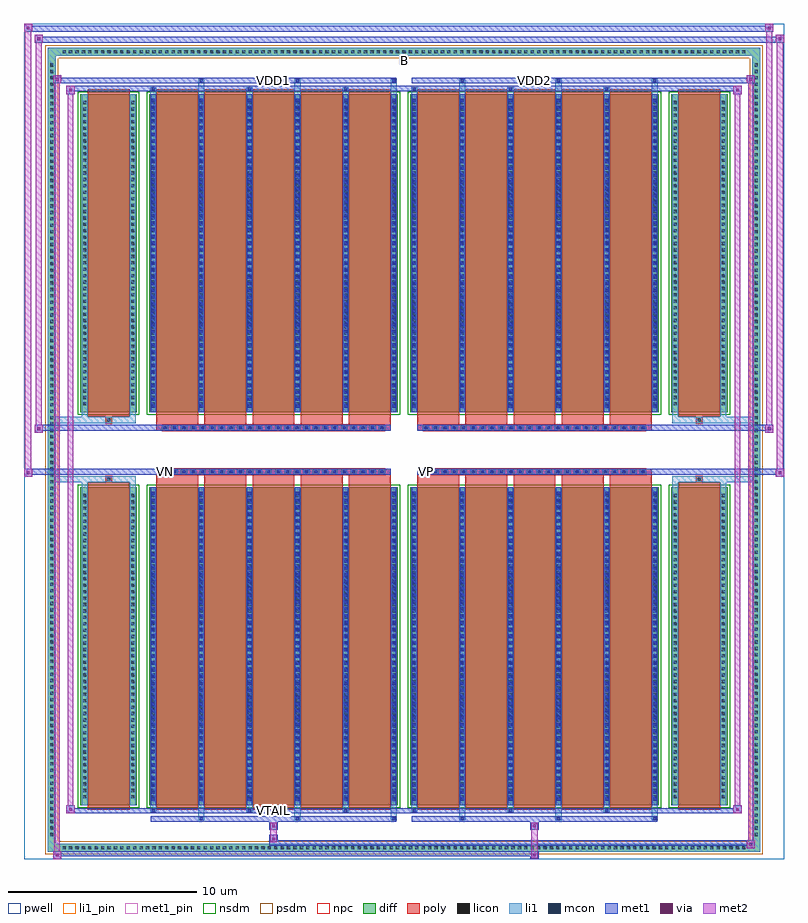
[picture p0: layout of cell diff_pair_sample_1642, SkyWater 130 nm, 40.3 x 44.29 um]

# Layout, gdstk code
import gdstk
lib = gdstk.Library(unit=1e-6, precision=5e-09)
def R(c, l, rs):  # rectangles x0, y0, x1, y1
    for r in rs: c.add(gdstk.rectangle(r[:2], r[2:], *l))
def A(c, l, x, y, w, h, nx, ny, dx, dy):  # array of equal rectangles
    R(c, l, [(x+i*dx, y+j*dy, x+i*dx+w, y+j*dy+h) for i in range(nx) for j in range(ny)])
def P(c, l, *ps):  # polygons
    for p in ps: c.add(gdstk.Polygon(p, *l))
pwell = (64, 44)
diff = (65, 20)
poly = (66, 20)
licon = (66, 44)
li1_pin = (67, 16)
li1 = (67, 20)
mcon = (67, 44)
met1_pin = (68, 16)
met1 = (68, 20)
via = (68, 44)
met2 = (69, 20)
nsdm = (93, 44)
psdm = (94, 20)
npc = (95, 20)

diff_pair_sample_1642 = lib.new_cell('diff_pair_sample_1642')
R(diff_pair_sample_1642, pwell, [(-20.15,-21.71,20.15,22.58), (-17.47,-19.9,-0.01,-0.8), (0.01,-19.9,17.47,-0.8), (-17.47,0.8,-0.01,19.9), (0.01,0.8,17.47,19.9)])
A(diff_pair_sample_1642, diff, -18.225, -21.31, 0.41, 0.41, 107, 2, 0.34, 42.21)
A(diff_pair_sample_1642, diff, -18.88, -20.605, 0.41, 0.41, 1, 121, 0, 0.34)
A(diff_pair_sample_1642, diff, 18.47, -20.605, 0.41, 0.41, 1, 121, 0, 0.34)
R(diff_pair_sample_1642, diff, [(-18.225,-21.31,18.225,-20.9), (-18.88,-20.605,-18.47,20.605), (18.47,-20.605,18.88,20.605), (-17.16,-18.855,-14.16,-1.985), (-13.52,-18.855,-0.32,-1.985), (0.32,-18.855,13.52,-1.985), (14.16,-18.855,17.16,-1.985), (-17.16,1.985,-14.16,18.855), (-13.52,1.985,-0.32,18.855), (0.32,1.985,13.52,18.855), (14.16,1.985,17.16,18.855), (-18.225,20.9,18.225,21.31)])
P(diff_pair_sample_1642, diff, [(18.88,21.31),(-18.88,21.31),(-18.88,-20.9),(-18.47,-20.9),(-18.47,20.9),(18.47,20.9),(18.47,-20.9),(-18.47,-20.9),(-18.88,-20.9),(-18.88,-21.31),(18.88,-21.31)])
A(diff_pair_sample_1642, poly, -13.13, -19.105, 2.22, 17.37, 5, 2, 2.55, 20.84)
A(diff_pair_sample_1642, poly, 0.71, -19.105, 2.22, 17.37, 5, 2, 2.55, 20.84)
A(diff_pair_sample_1642, poly, -13.13, -1.735, 2.22, 0.405, 5, 2, 2.55, 3.065)
A(diff_pair_sample_1642, poly, 0.71, -1.735, 2.22, 0.405, 5, 2, 2.55, 3.065)
A(diff_pair_sample_1642, poly, -12.835, -1.33, 0.33, 0.33, 24, 2, 0.5, 2.33)
A(diff_pair_sample_1642, poly, 1.005, -1.33, 0.33, 0.33, 24, 2, 0.5, 2.33)
R(diff_pair_sample_1642, poly, [(-16.77,-19.105,-14.55,-1.735), (14.55,-19.105,16.77,-1.735), (-15.825,-1.735,-15.495,-1.405), (-15.825,-1.735,-15.495,-1.405), (15.495,-1.735,15.825,-1.405), (15.495,-1.735,15.825,-1.405), (-13.13,-1.33,-0.71,-1), (0.71,-1.33,13.13,-1), (-13.13,1,-0.71,1.33), (0.71,1,13.13,1.33), (-15.825,1.405,-15.495,1.735), (-15.825,1.405,-15.495,1.735), (15.495,1.405,15.825,1.735), (15.495,1.405,15.825,1.735), (-16.77,1.735,-14.55,19.105), (14.55,1.735,16.77,19.105)])
A(diff_pair_sample_1642, licon, -18.105, -21.19, 0.17, 0.17, 107, 2, 0.34, 42.21)
A(diff_pair_sample_1642, licon, -18.76, -20.485, 0.17, 0.17, 1, 121, 0, 0.34)
A(diff_pair_sample_1642, licon, 18.59, -20.485, 0.17, 0.17, 1, 121, 0, 0.34)
A(diff_pair_sample_1642, licon, -17.02, -18.495, 0.17, 0.17, 1, 48, 0, 0.34)
A(diff_pair_sample_1642, licon, -14.47, -18.495, 0.17, 0.17, 1, 48, 0, 0.34)
A(diff_pair_sample_1642, licon, -13.38, -18.495, 0.17, 0.17, 6, 48, 2.55, 0.34)
A(diff_pair_sample_1642, licon, 0.46, -18.495, 0.17, 0.17, 6, 48, 2.55, 0.34)
A(diff_pair_sample_1642, licon, 14.3, -18.495, 0.17, 0.17, 1, 48, 0, 0.34)
A(diff_pair_sample_1642, licon, 16.85, -18.495, 0.17, 0.17, 1, 48, 0, 0.34)
A(diff_pair_sample_1642, licon, -12.755, -1.25, 0.17, 0.17, 24, 2, 0.5, 2.33)
A(diff_pair_sample_1642, licon, 1.085, -1.25, 0.17, 0.17, 24, 2, 0.5, 2.33)
A(diff_pair_sample_1642, licon, -17.02, 2.345, 0.17, 0.17, 1, 48, 0, 0.34)
A(diff_pair_sample_1642, licon, -14.47, 2.345, 0.17, 0.17, 1, 48, 0, 0.34)
A(diff_pair_sample_1642, licon, -13.38, 2.345, 0.17, 0.17, 6, 48, 2.55, 0.34)
A(diff_pair_sample_1642, licon, 0.46, 2.345, 0.17, 0.17, 6, 48, 2.55, 0.34)
A(diff_pair_sample_1642, licon, 14.3, 2.345, 0.17, 0.17, 1, 48, 0, 0.34)
A(diff_pair_sample_1642, licon, 16.85, 2.345, 0.17, 0.17, 1, 48, 0, 0.34)
R(diff_pair_sample_1642, licon, [(-15.745,-1.655,-15.575,-1.485), (15.575,-1.655,15.745,-1.485), (-15.745,1.485,-15.575,1.655), (15.575,1.485,15.745,1.655)])
R(diff_pair_sample_1642, li1_pin, [(-0.25,20.4,0.25,20.9)])
A(diff_pair_sample_1642, li1, -18.185, -21.27, 0.33, 0.33, 107, 2, 0.34, 42.21)
A(diff_pair_sample_1642, li1, -18.84, -20.565, 0.33, 0.33, 1, 121, 0, 0.34)
A(diff_pair_sample_1642, li1, 18.51, -20.565, 0.33, 0.33, 1, 121, 0, 0.34)
A(diff_pair_sample_1642, li1, -10.91, -19.66, 0.33, 0.805, 3, 2, 5.1, 38.515)
A(diff_pair_sample_1642, li1, -10.83, -19.66, 0.17, 0.17, 3, 2, 5.1, 39.15)
A(diff_pair_sample_1642, li1, 2.93, -19.66, 0.33, 0.805, 3, 2, 5.1, 38.515)
A(diff_pair_sample_1642, li1, 3.01, -19.66, 0.17, 0.17, 3, 2, 5.1, 39.15)
A(diff_pair_sample_1642, li1, -13.46, -19.23, 0.33, 0.375, 3, 2, 5.1, 38.085)
A(diff_pair_sample_1642, li1, -13.38, -19.23, 0.17, 0.17, 3, 2, 5.1, 38.29)
A(diff_pair_sample_1642, li1, 0.38, -19.23, 0.33, 0.375, 3, 2, 5.1, 38.085)
A(diff_pair_sample_1642, li1, 0.46, -19.23, 0.17, 0.17, 3, 2, 5.1, 38.29)
A(diff_pair_sample_1642, li1, -13.46, -18.855, 0.33, 16.87, 6, 2, 2.55, 20.84)
A(diff_pair_sample_1642, li1, 0.38, -18.855, 0.33, 16.87, 6, 2, 2.55, 20.84)
A(diff_pair_sample_1642, li1, -13.38, -18.605, 0.17, 0.17, 6, 46, 2.55, 0.36)
A(diff_pair_sample_1642, li1, -13.38, -18.605, 0.17, 16.37, 6, 2, 2.55, 20.84)
A(diff_pair_sample_1642, li1, 0.46, -18.605, 0.17, 0.17, 6, 46, 2.55, 0.36)
A(diff_pair_sample_1642, li1, 0.46, -18.605, 0.17, 16.37, 6, 2, 2.55, 20.84)
A(diff_pair_sample_1642, li1, -17.1, -18.575, 0.33, 0.33, 1, 48, 0, 0.34)
A(diff_pair_sample_1642, li1, -14.55, -18.575, 0.33, 0.33, 1, 48, 0, 0.34)
A(diff_pair_sample_1642, li1, -13.46, -18.575, 0.33, 0.33, 6, 48, 2.55, 0.34)
A(diff_pair_sample_1642, li1, 0.38, -18.575, 0.33, 0.33, 6, 48, 2.55, 0.34)
A(diff_pair_sample_1642, li1, 14.22, -18.575, 0.33, 0.33, 1, 48, 0, 0.34)
A(diff_pair_sample_1642, li1, 16.77, -18.575, 0.33, 0.33, 1, 48, 0, 0.34)
A(diff_pair_sample_1642, li1, -12.835, -1.33, 0.33, 0.33, 24, 2, 0.5, 2.33)
A(diff_pair_sample_1642, li1, 1.005, -1.33, 0.33, 0.33, 24, 2, 0.5, 2.33)
A(diff_pair_sample_1642, li1, -13.38, 2.235, 0.17, 0.17, 6, 46, 2.55, 0.36)
A(diff_pair_sample_1642, li1, 0.46, 2.235, 0.17, 0.17, 6, 46, 2.55, 0.36)
A(diff_pair_sample_1642, li1, -17.1, 2.265, 0.33, 0.33, 1, 48, 0, 0.34)
A(diff_pair_sample_1642, li1, -14.55, 2.265, 0.33, 0.33, 1, 48, 0, 0.34)
A(diff_pair_sample_1642, li1, -13.46, 2.265, 0.33, 0.33, 6, 48, 2.55, 0.34)
A(diff_pair_sample_1642, li1, 0.38, 2.265, 0.33, 0.33, 6, 48, 2.55, 0.34)
A(diff_pair_sample_1642, li1, 14.22, 2.265, 0.33, 0.33, 1, 48, 0, 0.34)
A(diff_pair_sample_1642, li1, 16.77, 2.265, 0.33, 0.33, 1, 48, 0, 0.34)
R(diff_pair_sample_1642, li1, [(-18.88,-21.31,-18.47,-20.9), (-18.88,-21.31,-18.47,-20.9), (-18.47,-21.31,18.47,-20.9), (18.47,-21.31,18.88,-20.9), (18.47,-21.31,18.88,-20.9), (-18.88,-20.9,-18.47,20.9), (18.47,-20.9,18.88,20.9), (-17.1,-18.855,-16.77,-1.985), (-14.55,-18.855,-14.22,-1.985), (14.22,-18.855,14.55,-1.985), (16.77,-18.855,17.1,-1.985), (-17.1,-1.985,-16.77,-1.405), (-14.55,-1.985,-14.22,-1.405), (14.22,-1.985,14.55,-1.405), (16.77,-1.985,17.1,-1.405), (-18.88,-1.735,-15.825,-1.405), (-17.1,-1.735,-15.825,-1.405), (-15.825,-1.735,-15.495,-1.405), (-15.495,-1.735,-14.22,-1.405), (14.22,-1.735,15.495,-1.405), (15.495,-1.735,15.825,-1.405), (15.495,-1.735,18.88,-1.405), (15.825,-1.735,17.1,-1.405), (-18.88,1.405,-15.825,1.735), (-17.1,1.405,-15.825,1.735), (-17.1,1.405,-16.77,1.985), (-15.825,1.405,-15.495,1.735), (-15.495,1.405,-14.22,1.735), (-14.55,1.405,-14.22,1.985), (14.22,1.405,15.495,1.735), (14.22,1.405,14.55,1.985), (15.495,1.405,15.825,1.735), (15.495,1.405,18.88,1.735), (15.825,1.405,17.1,1.735), (16.77,1.405,17.1,1.985), (-17.1,1.985,-16.77,18.855), (-14.55,1.985,-14.22,18.855), (14.22,1.985,14.55,18.855), (16.77,1.985,17.1,18.855), (-18.88,20.9,-18.47,21.31), (-18.88,20.9,-18.47,21.31), (-18.47,20.9,18.47,21.31), (18.47,20.9,18.88,21.31), (18.47,20.9,18.88,21.31)])
A(diff_pair_sample_1642, mcon, -10.83, -19.66, 0.17, 0.17, 3, 2, 5.1, 39.15)
A(diff_pair_sample_1642, mcon, 3.01, -19.66, 0.17, 0.17, 3, 2, 5.1, 39.15)
A(diff_pair_sample_1642, mcon, -13.38, -19.23, 0.17, 0.17, 3, 2, 5.1, 38.29)
A(diff_pair_sample_1642, mcon, 0.46, -19.23, 0.17, 0.17, 3, 2, 5.1, 38.29)
A(diff_pair_sample_1642, mcon, -13.38, -18.605, 0.17, 0.17, 6, 46, 2.55, 0.36)
A(diff_pair_sample_1642, mcon, 0.46, -18.605, 0.17, 0.17, 6, 46, 2.55, 0.36)
A(diff_pair_sample_1642, mcon, -12.755, -1.25, 0.17, 0.17, 24, 2, 0.5, 2.33)
A(diff_pair_sample_1642, mcon, 1.085, -1.25, 0.17, 0.17, 24, 2, 0.5, 2.33)
A(diff_pair_sample_1642, mcon, -13.38, 2.235, 0.17, 0.17, 6, 46, 2.55, 0.36)
A(diff_pair_sample_1642, mcon, 0.46, 2.235, 0.17, 0.17, 6, 46, 2.55, 0.36)
R(diff_pair_sample_1642, met1_pin, [(-7.055,-19.27,-6.785,-19), (-12.805,-1.29,-12.535,-1.02), (1.035,-1.29,1.305,-1.02), (-7.055,19.45,-6.785,19.72), (6.785,19.45,7.055,19.72)])
A(diff_pair_sample_1642, met1, -10.89, -19.72, 0.29, 0.29, 3, 2, 5.1, 39.15)
A(diff_pair_sample_1642, met1, 2.95, -19.72, 0.29, 0.29, 3, 2, 5.1, 39.15)
A(diff_pair_sample_1642, met1, -13.44, -19.29, 0.29, 0.29, 3, 2, 5.1, 38.29)
A(diff_pair_sample_1642, met1, 0.4, -19.29, 0.29, 0.29, 3, 2, 5.1, 38.29)
A(diff_pair_sample_1642, met1, -13.44, -18.855, 0.29, 16.87, 6, 2, 2.55, 20.84)
A(diff_pair_sample_1642, met1, 0.4, -18.855, 0.29, 16.87, 6, 2, 2.55, 20.84)
A(diff_pair_sample_1642, met1, -13.44, -18.665, 0.29, 0.29, 6, 46, 2.55, 0.36)
A(diff_pair_sample_1642, met1, 0.4, -18.665, 0.29, 0.29, 6, 46, 2.55, 0.36)
A(diff_pair_sample_1642, met1, -12.815, -1.31, 0.29, 0.29, 24, 2, 0.5, 2.33)
A(diff_pair_sample_1642, met1, 1.025, -1.31, 0.29, 0.29, 24, 2, 0.5, 2.33)
A(diff_pair_sample_1642, met1, -13.44, 2.175, 0.29, 0.29, 6, 46, 2.55, 0.36)
A(diff_pair_sample_1642, met1, 0.4, 2.175, 0.29, 0.29, 6, 46, 2.55, 0.36)
R(diff_pair_sample_1642, met1, [(-18.61,-21.71,-18.18,-21.28), (6.705,-21.71,7.135,-21.28), (-18.61,-21.57,7.135,-21.28), (18.18,-21.14,18.61,-20.71), (-7.135,-21,18.61,-20.71), (-7.135,-20.86,-6.705,-20.43), (-7.135,-20.15,-6.705,-19.72), (6.705,-20.15,7.135,-19.72), (-13.44,-19.72,-0.4,-19.43), (0.4,-19.72,13.44,-19.43), (-17.9,-19.29,-17.47,-18.86), (-17.9,-19.29,-13.44,-19), (-13.44,-19.29,-0.4,-19), (-0.4,-19.29,0.4,-19), (0.4,-19.29,13.44,-19), (13.44,-19.29,17.9,-19), (17.47,-19.29,17.9,-18.86), (-20.15,-1.43,-19.72,-1), (19.72,-1.43,20.15,-1), (-20.15,-1.33,-0.71,-1), (-13.13,-1.33,-0.71,-1), (0.71,-1.33,13.13,-1), (0.71,-1.33,20.15,-1), (-19.58,0.9,-19.15,1.33), (19.15,0.9,19.58,1.33), (-19.58,1,-13.13,1.33), (-13.13,1,-0.71,1.33), (0.71,1,13.13,1.33), (13.13,1,19.58,1.33), (-17.9,18.86,-17.47,19.29), (17.47,18.86,17.9,19.29), (-17.9,19,-13.44,19.29), (-13.44,19,-0.4,19.29), (-0.4,19,0.4,19.29), (0.4,19,13.44,19.29), (13.44,19,17.9,19.29), (-18.61,19.43,-18.18,19.86), (-18.61,19.43,-13.44,19.72), (-13.44,19.43,-0.4,19.72), (0.4,19.43,13.44,19.72), (13.44,19.43,18.61,19.72), (18.18,19.43,18.61,19.86), (-19.58,21.58,-19.15,22.01), (-19.58,21.58,-17.47,21.91), (-17.47,21.58,17.47,21.91), (17.47,21.58,20.15,21.91), (19.72,21.58,20.15,22.01), (-20.15,22.15,-19.72,22.58), (-20.15,22.15,-17.47,22.48), (-17.47,22.15,17.47,22.48), (17.47,22.15,19.58,22.48), (19.15,22.15,19.58,22.58)])
R(diff_pair_sample_1642, via, [(-18.47,-21.57,-18.32,-21.42), (6.845,-21.57,6.995,-21.42), (18.32,-21,18.47,-20.85), (-6.995,-20.72,-6.845,-20.57), (-6.995,-20.01,-6.845,-19.86), (6.845,-20.01,6.995,-19.86), (-17.76,-19.15,-17.61,-19), (17.61,-19.15,17.76,-19), (-20.01,-1.29,-19.86,-1.14), (19.86,-1.29,20.01,-1.14), (-19.44,1.04,-19.29,1.19), (19.29,1.04,19.44,1.19), (-17.76,19,-17.61,19.15), (17.61,19,17.76,19.15), (-18.47,19.57,-18.32,19.72), (18.32,19.57,18.47,19.72), (-19.44,21.72,-19.29,21.87), (19.86,21.72,20.01,21.87), (-20.01,22.29,-19.86,22.44), (19.29,22.29,19.44,22.44)])
R(diff_pair_sample_1642, met2, [(-18.61,-21.71,-18.18,-21.28), (-18.54,-21.71,-18.25,19.86), (-18.25,-21.71,-18.18,-21.28), (-18.56,-21.66,-18.23,-21.33), (6.755,-21.66,7.085,-21.33), (6.755,-21.33,7.085,-20.1), (18.18,-21.14,18.61,-20.71), (18.25,-21.14,18.54,19.86), (18.54,-21.14,18.61,-20.71), (18.23,-21.09,18.56,-20.76), (-7.085,-20.81,-6.755,-20.48), (-7.085,-20.48,-6.755,-20.1), (-7.085,-20.1,-6.755,-19.77), (6.755,-20.1,7.085,-19.77), (-17.9,-19.29,-17.47,-18.86), (-17.83,-19.29,-17.54,19.29), (-17.54,-19.29,-17.47,-18.86), (17.47,-19.29,17.9,-18.86), (17.54,-19.29,17.83,19.29), (17.83,-19.29,17.9,-18.86), (-17.85,-19.24,-17.52,-18.91), (17.52,-19.24,17.85,-18.91), (-20.15,-1.43,-19.72,-1), (-20.1,-1.43,-19.77,22.58), (-19.77,-1.43,-19.72,-1), (19.72,-1.43,20.15,-1), (19.77,-1.43,20.1,22.01), (20.1,-1.43,20.15,-1), (-20.1,-1.38,-19.77,-1.05), (19.77,-1.38,20.1,-1.05), (-19.58,0.9,-19.15,1.33), (-19.53,0.9,-19.2,22.01), (-19.2,0.9,-19.15,1.33), (19.15,0.9,19.58,1.33), (19.2,0.9,19.53,22.58), (19.53,0.9,19.58,1.33), (-19.53,0.95,-19.2,1.28), (19.2,0.95,19.53,1.28), (-17.9,18.86,-17.47,19.29), (-17.54,18.86,-17.47,19.29), (17.47,18.86,17.9,19.29), (17.83,18.86,17.9,19.29), (-17.85,18.91,-17.52,19.24), (17.52,18.91,17.85,19.24), (-18.61,19.43,-18.18,19.86), (-18.25,19.43,-18.18,19.86), (18.18,19.43,18.61,19.86), (18.54,19.43,18.61,19.86), (-18.56,19.48,-18.23,19.81), (18.23,19.48,18.56,19.81), (-19.58,21.58,-19.15,22.01), (-19.2,21.58,-19.15,22.01), (19.72,21.58,20.15,22.01), (20.1,21.58,20.15,22.01), (-19.53,21.63,-19.2,21.96), (19.77,21.63,20.1,21.96), (-20.15,22.15,-19.72,22.58), (-19.77,22.15,-19.72,22.58), (19.15,22.15,19.58,22.58), (19.53,22.15,19.58,22.58), (-20.1,22.2,-19.77,22.53), (19.2,22.2,19.53,22.53)])
R(diff_pair_sample_1642, nsdm, [(-17.29,-18.985,-14.03,-1.855), (-13.65,-18.985,-0.19,-1.855), (0.19,-18.985,13.65,-1.855), (14.03,-18.985,17.29,-1.855), (-17.29,1.855,-14.03,18.985), (-13.65,1.855,-0.19,18.985), (0.19,1.855,13.65,18.985), (14.03,1.855,17.29,18.985)])
P(diff_pair_sample_1642, psdm, [(19.01,21.44),(-19.01,21.44),(-19.01,-20.77),(-18.34,-20.77),(-18.34,20.77),(18.34,20.77),(18.34,-20.77),(-18.34,-20.77),(-19.01,-20.77),(-19.01,-21.44),(19.01,-21.44)])
A(diff_pair_sample_1642, npc, -12.855, -1.35, 0.37, 0.37, 24, 2, 0.5, 2.33)
A(diff_pair_sample_1642, npc, 0.985, -1.35, 0.37, 0.37, 24, 2, 0.5, 2.33)
R(diff_pair_sample_1642, npc, [(-15.845,-1.755,-15.475,-1.385), (15.475,-1.755,15.845,-1.385), (-12.855,-1.35,-11.985,-0.98), (-12.855,-1.35,-11.985,-0.98), (-12.355,-1.35,-11.485,-0.98), (-12.355,-1.35,-11.485,-0.98), (-11.855,-1.35,-10.985,-0.98), (-11.855,-1.35,-10.985,-0.98), (-11.355,-1.35,-10.485,-0.98), (-11.355,-1.35,-10.485,-0.98), (-10.855,-1.35,-9.985,-0.98), (-10.855,-1.35,-9.985,-0.98), (-10.355,-1.35,-9.485,-0.98), (-10.355,-1.35,-9.485,-0.98), (-9.855,-1.35,-8.985,-0.98), (-9.855,-1.35,-8.985,-0.98), (-9.355,-1.35,-8.485,-0.98), (-9.355,-1.35,-8.485,-0.98), (-8.855,-1.35,-7.985,-0.98), (-8.855,-1.35,-7.985,-0.98), (-8.355,-1.35,-7.485,-0.98), (-8.355,-1.35,-7.485,-0.98), (-7.855,-1.35,-6.985,-0.98), (-7.855,-1.35,-6.985,-0.98), (-7.355,-1.35,-6.485,-0.98), (-7.355,-1.35,-6.485,-0.98), (-6.855,-1.35,-5.985,-0.98), (-6.855,-1.35,-5.985,-0.98), (-6.355,-1.35,-5.485,-0.98), (-6.355,-1.35,-5.485,-0.98), (-5.855,-1.35,-4.985,-0.98), (-5.855,-1.35,-4.985,-0.98), (-5.355,-1.35,-4.485,-0.98), (-5.355,-1.35,-4.485,-0.98), (-4.855,-1.35,-3.985,-0.98), (-4.855,-1.35,-3.985,-0.98), (-4.355,-1.35,-3.485,-0.98), (-4.355,-1.35,-3.485,-0.98), (-3.855,-1.35,-2.985,-0.98), (-3.855,-1.35,-2.985,-0.98), (-3.355,-1.35,-2.485,-0.98), (-3.355,-1.35,-2.485,-0.98), (-2.855,-1.35,-1.985,-0.98), (-2.855,-1.35,-1.985,-0.98), (-2.355,-1.35,-1.485,-0.98), (-2.355,-1.35,-1.485,-0.98), (-1.855,-1.35,-0.985,-0.98), (-1.855,-1.35,-0.985,-0.98), (0.985,-1.35,1.855,-0.98), (0.985,-1.35,1.855,-0.98), (1.485,-1.35,2.355,-0.98), (1.485,-1.35,2.355,-0.98), (1.985,-1.35,2.855,-0.98), (1.985,-1.35,2.855,-0.98), (2.485,-1.35,3.355,-0.98), (2.485,-1.35,3.355,-0.98), (2.985,-1.35,3.855,-0.98), (2.985,-1.35,3.855,-0.98), (3.485,-1.35,4.355,-0.98), (3.485,-1.35,4.355,-0.98), (3.985,-1.35,4.855,-0.98), (3.985,-1.35,4.855,-0.98), (4.485,-1.35,5.355,-0.98), (4.485,-1.35,5.355,-0.98), (4.985,-1.35,5.855,-0.98), (4.985,-1.35,5.855,-0.98), (5.485,-1.35,6.355,-0.98), (5.485,-1.35,6.355,-0.98), (5.985,-1.35,6.855,-0.98), (5.985,-1.35,6.855,-0.98), (6.485,-1.35,7.355,-0.98), (6.485,-1.35,7.355,-0.98), (6.985,-1.35,7.855,-0.98), (6.985,-1.35,7.855,-0.98), (7.485,-1.35,8.355,-0.98), (7.485,-1.35,8.355,-0.98), (7.985,-1.35,8.855,-0.98), (7.985,-1.35,8.855,-0.98), (8.485,-1.35,9.355,-0.98), (8.485,-1.35,9.355,-0.98), (8.985,-1.35,9.855,-0.98), (8.985,-1.35,9.855,-0.98), (9.485,-1.35,10.355,-0.98), (9.485,-1.35,10.355,-0.98), (9.985,-1.35,10.855,-0.98), (9.985,-1.35,10.855,-0.98), (10.485,-1.35,11.355,-0.98), (10.485,-1.35,11.355,-0.98), (10.985,-1.35,11.855,-0.98), (10.985,-1.35,11.855,-0.98), (11.485,-1.35,12.355,-0.98), (11.485,-1.35,12.355,-0.98), (11.985,-1.35,12.855,-0.98), (11.985,-1.35,12.855,-0.98), (-12.855,0.98,-11.985,1.35), (-12.855,0.98,-11.985,1.35), (-12.355,0.98,-11.485,1.35), (-12.355,0.98,-11.485,1.35), (-11.855,0.98,-10.985,1.35), (-11.855,0.98,-10.985,1.35), (-11.355,0.98,-10.485,1.35), (-11.355,0.98,-10.485,1.35), (-10.855,0.98,-9.985,1.35), (-10.855,0.98,-9.985,1.35), (-10.355,0.98,-9.485,1.35), (-10.355,0.98,-9.485,1.35), (-9.855,0.98,-8.985,1.35), (-9.855,0.98,-8.985,1.35), (-9.355,0.98,-8.485,1.35), (-9.355,0.98,-8.485,1.35), (-8.855,0.98,-7.985,1.35), (-8.855,0.98,-7.985,1.35), (-8.355,0.98,-7.485,1.35), (-8.355,0.98,-7.485,1.35), (-7.855,0.98,-6.985,1.35), (-7.855,0.98,-6.985,1.35), (-7.355,0.98,-6.485,1.35), (-7.355,0.98,-6.485,1.35), (-6.855,0.98,-5.985,1.35), (-6.855,0.98,-5.985,1.35), (-6.355,0.98,-5.485,1.35), (-6.355,0.98,-5.485,1.35), (-5.855,0.98,-4.985,1.35), (-5.855,0.98,-4.985,1.35), (-5.355,0.98,-4.485,1.35), (-5.355,0.98,-4.485,1.35), (-4.855,0.98,-3.985,1.35), (-4.855,0.98,-3.985,1.35), (-4.355,0.98,-3.485,1.35), (-4.355,0.98,-3.485,1.35), (-3.855,0.98,-2.985,1.35), (-3.855,0.98,-2.985,1.35), (-3.355,0.98,-2.485,1.35), (-3.355,0.98,-2.485,1.35), (-2.855,0.98,-1.985,1.35), (-2.855,0.98,-1.985,1.35), (-2.355,0.98,-1.485,1.35), (-2.355,0.98,-1.485,1.35), (-1.855,0.98,-0.985,1.35), (-1.855,0.98,-0.985,1.35), (0.985,0.98,1.855,1.35), (0.985,0.98,1.855,1.35), (1.485,0.98,2.355,1.35), (1.485,0.98,2.355,1.35), (1.985,0.98,2.855,1.35), (1.985,0.98,2.855,1.35), (2.485,0.98,3.355,1.35), (2.485,0.98,3.355,1.35), (2.985,0.98,3.855,1.35), (2.985,0.98,3.855,1.35), (3.485,0.98,4.355,1.35), (3.485,0.98,4.355,1.35), (3.985,0.98,4.855,1.35), (3.985,0.98,4.855,1.35), (4.485,0.98,5.355,1.35), (4.485,0.98,5.355,1.35), (4.985,0.98,5.855,1.35), (4.985,0.98,5.855,1.35), (5.485,0.98,6.355,1.35), (5.485,0.98,6.355,1.35), (5.985,0.98,6.855,1.35), (5.985,0.98,6.855,1.35), (6.485,0.98,7.355,1.35), (6.485,0.98,7.355,1.35), (6.985,0.98,7.855,1.35), (6.985,0.98,7.855,1.35), (7.485,0.98,8.355,1.35), (7.485,0.98,8.355,1.35), (7.985,0.98,8.855,1.35), (7.985,0.98,8.855,1.35), (8.485,0.98,9.355,1.35), (8.485,0.98,9.355,1.35), (8.985,0.98,9.855,1.35), (8.985,0.98,9.855,1.35), (9.485,0.98,10.355,1.35), (9.485,0.98,10.355,1.35), (9.985,0.98,10.855,1.35), (9.985,0.98,10.855,1.35), (10.485,0.98,11.355,1.35), (10.485,0.98,11.355,1.35), (10.985,0.98,11.855,1.35), (10.985,0.98,11.855,1.35), (11.485,0.98,12.355,1.35), (11.485,0.98,12.355,1.35), (11.985,0.98,12.855,1.35), (11.985,0.98,12.855,1.35), (-15.845,1.385,-15.475,1.755), (15.475,1.385,15.845,1.755)])
diff_pair_sample_1642.add(gdstk.Label('VTAIL', (-6.92,-19.135), layer=68, texttype=5))
diff_pair_sample_1642.add(gdstk.Label('VN', (-12.67,-1.155), layer=68, texttype=5))
diff_pair_sample_1642.add(gdstk.Label('VP', (1.17,-1.155), layer=68, texttype=5))
diff_pair_sample_1642.add(gdstk.Label('B', (0,20.65), layer=67, texttype=5))
diff_pair_sample_1642.add(gdstk.Label('VDD2', (6.92,19.585), layer=68, texttype=5))
diff_pair_sample_1642.add(gdstk.Label('VDD1', (-6.92,19.585), layer=68, texttype=5))

lib.write_gds('diff_pair_sample_1642.gds')
